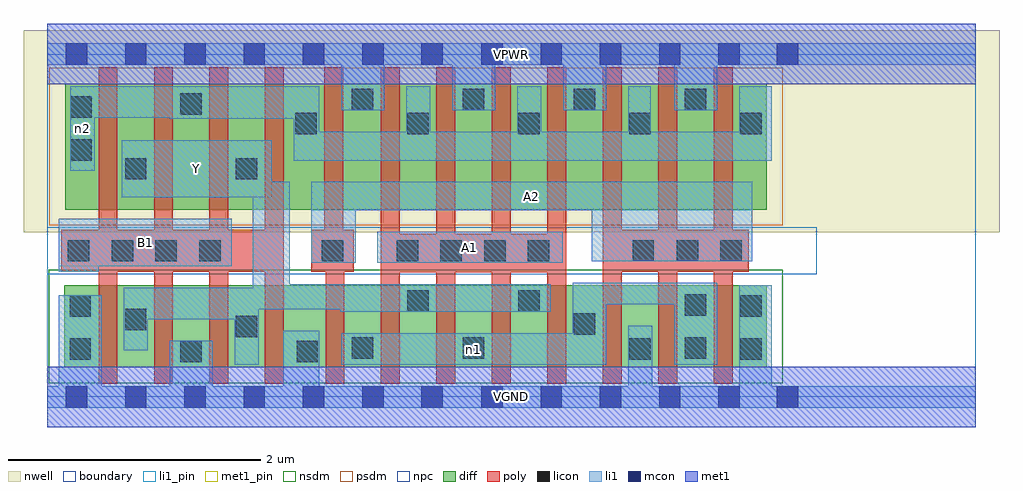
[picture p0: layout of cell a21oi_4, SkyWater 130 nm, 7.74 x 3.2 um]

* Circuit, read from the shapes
.subckt a21oi_4 A1 A2 B1 VGND VPWR Y n1 n2
XM1 Y B1 VGND VSUBS sky130_fd_pr__nfet_01v8 w=0.65 l=0.15 m=4
XM2 n1 A2 VGND VSUBS sky130_fd_pr__nfet_01v8 w=0.65 l=0.15 m=4
XM3 Y A1 n1 VSUBS sky130_fd_pr__nfet_01v8 w=0.65 l=0.15 m=4
XM4 Y B1 n2 n3 sky130_fd_pr__pfet_01v8 w=1 l=0.15 m=4
XM5 VPWR A2 n2 n3 sky130_fd_pr__pfet_01v8 w=1 l=0.15 m=4
XM6 n2 A1 VPWR n3 sky130_fd_pr__pfet_01v8 w=1 l=0.15 m=4
.ends

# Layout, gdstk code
import gdstk
lib = gdstk.Library(unit=1e-6, precision=1e-09)
def R(c, l, rs):  # rectangles x0, y0, x1, y1
    for r in rs: c.add(gdstk.rectangle(r[:2], r[2:], *l))
def A(c, l, x, y, w, h, nx, ny, dx, dy):  # array of equal rectangles
    R(c, l, [(x+i*dx, y+j*dy, x+i*dx+w, y+j*dy+h) for i in range(nx) for j in range(ny)])
nwell = (64, 20)
diff = (65, 20)
poly = (66, 20)
licon = (66, 44)
li1_pin = (67, 16)
li1 = (67, 20)
mcon = (67, 44)
met1_pin = (68, 16)
met1 = (68, 20)
nsdm = (93, 44)
psdm = (94, 20)
npc = (95, 20)
boundary = (235, 4)

a21oi_4 = lib.new_cell('a21oi_4')
R(a21oi_4, nwell, [(-0.19,1.305,7.55,2.91), (0,1.305,7.36,2.91)])
R(a21oi_4, diff, [(0.135,0.235,5.705,0.885), (0.14,1.485,5.705,2.485)])
A(a21oi_4, poly, 0.405, 0.105, 0.15, 2.51, 4, 1, 0.44, 0)
A(a21oi_4, poly, 2.645, 0.105, 0.15, 2.51, 7, 1, 0.44, 0)
R(a21oi_4, poly, [(2.205,0.105,2.355,1.325), (2.645,0.99,4.115,1.295), (0.11,0.995,1.875,1.325), (2.09,0.995,2.43,1.325), (2.195,0.995,2.345,2.615), (4.405,0.995,5.56,1.325)])
A(a21oi_4, licon, 2.855, 2.085, 0.17, 0.17, 4, 1, 0.88, 0)
A(a21oi_4, licon, 2.415, 2.275, 0.17, 0.17, 4, 1, 0.88, 0)
R(a21oi_4, licon, [(1.055,0.275,1.225,0.445), (1.975,0.275,2.145,0.445), (0.175,0.295,0.345,0.465), (4.615,0.295,4.785,0.465), (5.495,0.295,5.665,0.465), (2.415,0.305,2.585,0.475), (3.295,0.305,3.465,0.475), (5.055,0.305,5.225,0.475), (1.495,0.475,1.665,0.645), (4.175,0.495,4.345,0.665), (0.615,0.53,0.785,0.7), (0.175,0.635,0.345,0.805), (5.495,0.635,5.665,0.805), (5.055,0.645,5.225,0.815), (2.855,0.675,3.025,0.845), (3.735,0.675,3.905,0.845), (0.16,1.075,0.33,1.245), (0.51,1.075,0.68,1.245), (0.855,1.075,1.025,1.245), (1.205,1.075,1.375,1.245), (2.175,1.075,2.345,1.245), (2.77,1.075,2.94,1.245), (3.115,1.075,3.285,1.245), (3.465,1.075,3.635,1.245), (3.81,1.075,3.98,1.245), (4.64,1.075,4.81,1.245), (4.99,1.075,5.16,1.245), (5.335,1.075,5.505,1.245), (0.615,1.725,0.785,1.895), (1.495,1.725,1.665,1.895), (0.18,1.875,0.35,2.045), (1.965,2.085,2.135,2.255), (0.18,2.215,0.35,2.385), (1.055,2.24,1.225,2.41)])
R(a21oi_4, li1_pin, [(0.09,1.035,1.46,1.415), (2.615,1.065,4.085,1.31), (2.09,1.48,5.59,1.705), (0.59,1.585,1.78,2.035)])
A(a21oi_4, li1, 2.33, 2.275, 0.34, 0.53, 4, 1, 0.88, 0)
R(a21oi_4, li1, [(0,-0.085,7.36,0.085), (0.09,-0.085,0.43,0.805), (0.97,-0.085,1.31,0.445), (1.87,-0.085,2.155,0.525), (4.605,-0.085,4.795,0.565), (5.485,-0.085,5.745,0.885), (1.485,0.255,1.675,0.865), (2.33,0.255,4.43,0.505), (4.165,0.255,4.43,0.905), (4.97,0.255,5.31,0.905), (0.605,0.37,0.795,0.865), (0.605,0.615,1.675,0.865), (2.32,0.675,3.99,0.895), (1.63,0.695,3.99,0.895), (4.165,0.735,5.31,0.905), (1.63,0.895,1.92,1.705), (0.09,0.995,0.405,1.415), (0.09,1.035,1.46,1.415), (2.09,1.065,2.445,1.705), (2.615,1.065,4.085,1.31), (4.315,1.075,5.59,1.705), (2.09,1.48,5.59,1.705), (0.59,1.585,1.78,2.035), (0.18,1.795,0.375,2.465), (1.955,1.875,5.745,2.105), (1.955,1.875,2.155,2.465), (2.845,1.875,3.035,2.465), (3.725,1.875,3.915,2.465), (4.605,1.875,4.785,2.465), (5.485,1.875,5.745,2.465), (0.97,2.205,2.155,2.465), (0.18,2.215,2.155,2.465), (0,2.635,7.36,2.805)])
A(a21oi_4, mcon, 0.145, -0.085, 0.17, 0.17, 7, 2, 0.47, 2.72)
A(a21oi_4, mcon, 3.44, -0.085, 0.17, 0.17, 5, 2, 0.47, 2.72)
R(a21oi_4, mcon, [(5.785,-0.085,5.955,0.085), (5.785,2.635,5.955,2.805)])
R(a21oi_4, met1_pin, [(0,-0.24,7.36,0.24), (0,2.48,7.36,2.96)])
R(a21oi_4, met1, [(0,-0.24,7.36,0.24), (0,2.48,7.36,2.96)])
R(a21oi_4, nsdm, [(0.01,0.11,5.83,1.01)])
R(a21oi_4, psdm, [(0.015,1.36,5.83,2.61)])
R(a21oi_4, npc, [(0,0.975,6.1,1.345)])
R(a21oi_4, boundary, [(0,0,7.36,2.72)])
a21oi_4.add(gdstk.Label('A1', (3.35,1.187), layer=67, texttype=5))
a21oi_4.add(gdstk.Label('A2', (3.84,1.592), layer=67, texttype=5))
a21oi_4.add(gdstk.Label('B1', (0.775,1.225), layer=67, texttype=5))
a21oi_4.add(gdstk.Label('Y', (1.185,1.81), layer=67, texttype=5))
a21oi_4.add(gdstk.Label('n1', (3.38,0.38), layer=67, texttype=5))
a21oi_4.add(gdstk.Label('n2', (0.277,2.13), layer=67, texttype=5))
a21oi_4.add(gdstk.Label('VPWR', (3.68,2.72), layer=68, texttype=5))
a21oi_4.add(gdstk.Label('VGND', (3.68,0), layer=68, texttype=5))
a21oi_4.add(gdstk.Label('A1', (3.35,1.187), layer=67, texttype=16))
a21oi_4.add(gdstk.Label('A2', (3.84,1.592), layer=67, texttype=16))
a21oi_4.add(gdstk.Label('B1', (0.775,1.225), layer=67, texttype=16))
a21oi_4.add(gdstk.Label('Y', (1.185,1.81), layer=67, texttype=16))
a21oi_4.add(gdstk.Label('VPWR', (3.68,2.72), layer=68, texttype=16))
a21oi_4.add(gdstk.Label('VGND', (3.68,0), layer=68, texttype=16))

lib.write_gds('a21oi_4.gds')
